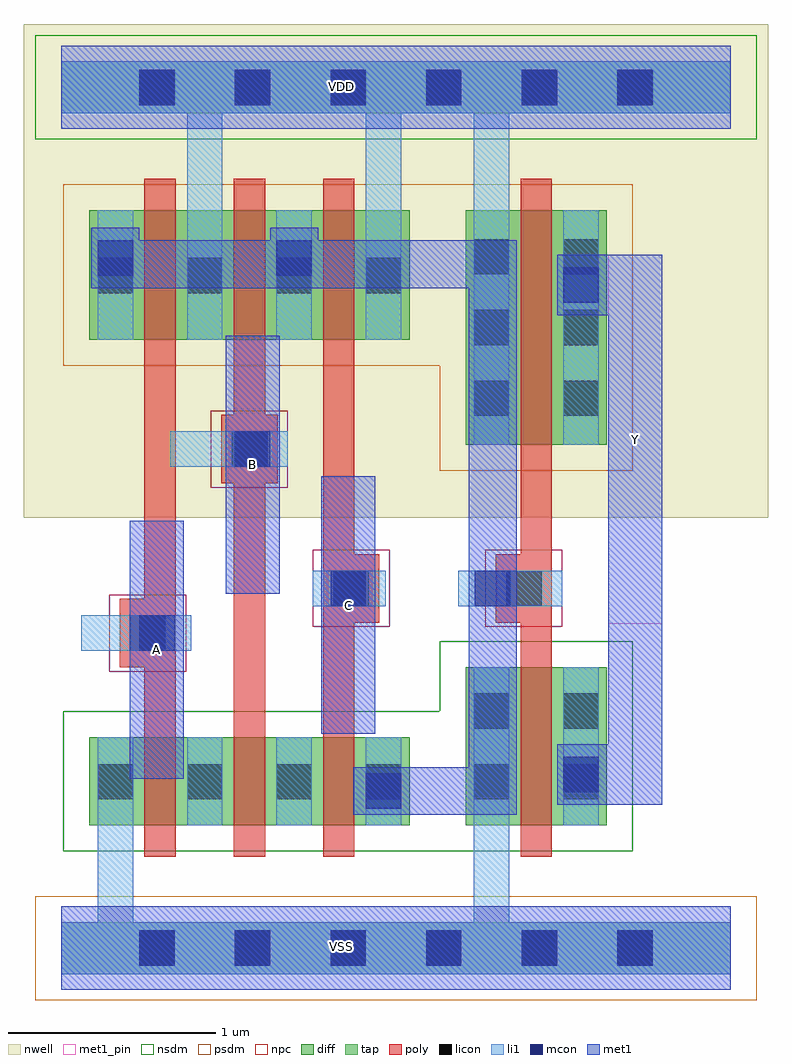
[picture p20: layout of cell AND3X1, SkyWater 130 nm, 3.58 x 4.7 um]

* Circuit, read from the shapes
.subckt AND3X1 A B C VDD VSS Y
XM1 n1 A VSS VSS sky130_fd_pr__nfet_01v8 w=0.425 l=0.15
XM2 n2 B n1 VSS sky130_fd_pr__nfet_01v8 w=0.425 l=0.15
XM3 n3 C n2 VSS sky130_fd_pr__nfet_01v8 w=0.425 l=0.15
XM4 Y n3 VSS VSS sky130_fd_pr__nfet_01v8 w=0.76 l=0.15
XM5 VDD A n3 VDD sky130_fd_pr__pfet_01v8 w=0.625 l=0.15
XM6 n3 B VDD VDD sky130_fd_pr__pfet_01v8 w=0.625 l=0.15
XM7 VDD C n3 VDD sky130_fd_pr__pfet_01v8 w=0.625 l=0.15
XM8 Y n3 VDD VDD sky130_fd_pr__pfet_01v8 w=1.13 l=0.15
.ends

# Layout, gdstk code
import gdstk
lib = gdstk.Library(unit=1e-6, precision=1e-09)
def R(c, l, rs):  # rectangles x0, y0, x1, y1
    for r in rs: c.add(gdstk.rectangle(r[:2], r[2:], *l))
def A(c, l, x, y, w, h, nx, ny, dx, dy):  # array of equal rectangles
    R(c, l, [(x+i*dx, y+j*dy, x+i*dx+w, y+j*dy+h) for i in range(nx) for j in range(ny)])
nwell = (64, 20)
diff = (65, 20)
tap = (65, 44)
poly = (66, 20)
licon = (66, 44)
li1 = (67, 20)
mcon = (67, 44)
met1_pin = (68, 16)
met1 = (68, 20)
nsdm = (93, 44)
psdm = (94, 20)
npc = (95, 20)

and3x1 = lib.new_cell('AND3X1')
R(and3x1, nwell, [(-0.18,2.07,3.4,4.445)])
R(and3x1, diff, [(0.135,0.59,1.675,1.015), (1.945,0.59,2.625,1.35), (1.945,2.42,2.625,3.55), (0.135,2.925,1.675,3.55)])
R(and3x1, tap, [(0,-0.125,3.22,0.125), (0,4.015,3.22,4.265)])
R(and3x1, poly, [(0.4,0.44,0.55,1.35), (0.83,0.44,0.98,2.235), (1.26,0.44,1.41,1.565), (2.21,0.44,2.36,1.565), (0.28,1.35,0.55,1.68), (1.26,1.565,1.53,1.895), (2.09,1.565,2.36,1.895), (0.4,1.68,0.55,3.7), (1.26,1.895,1.41,3.7), (2.21,1.895,2.36,3.7), (0.77,2.235,1.04,2.565), (0.83,2.565,0.98,3.7)])
A(and3x1, licon, 0.375, -0.085, 0.17, 0.17, 6, 2, 0.46, 4.14)
A(and3x1, licon, 0.175, 0.715, 0.17, 0.17, 4, 2, 0.43, 2.435)
A(and3x1, licon, 1.985, 2.56, 0.17, 0.17, 1, 3, 0, 0.34)
A(and3x1, licon, 2.415, 2.56, 0.17, 0.17, 1, 3, 0, 0.34)
R(and3x1, licon, [(1.985,0.715,2.155,0.885), (2.415,0.715,2.585,0.885), (1.985,1.055,2.155,1.225), (2.415,1.055,2.585,1.225), (0.33,1.43,0.5,1.6), (1.31,1.645,1.48,1.815), (2.14,1.645,2.31,1.815), (0.82,2.315,0.99,2.485)])
A(and3x1, li1, 0.605, 0.59, 0.17, 0.425, 3, 1, 0.43, 0)
R(and3x1, li1, [(0,-0.125,3.22,0.125), (0.175,0.125,0.345,1.015), (1.985,0.125,2.155,1.35), (2.415,0.59,2.585,1.35), (0.095,1.43,0.625,1.6), (1.21,1.645,1.56,1.815), (1.91,1.645,2.41,1.815), (0.525,2.315,1.09,2.485), (1.985,2.42,2.155,4.015), (2.415,2.42,2.585,3.55), (0.175,2.925,0.345,3.55), (0.605,2.925,0.775,4.015), (1.035,2.925,1.205,3.55), (1.465,2.925,1.635,4.015), (0,4.015,3.22,4.265)])
A(and3x1, mcon, 0.375, -0.085, 0.17, 0.17, 6, 2, 0.46, 4.14)
R(and3x1, mcon, [(1.465,0.67,1.635,0.84), (2.415,0.75,2.585,0.92), (0.375,1.43,0.545,1.6), (1.295,1.645,1.465,1.815), (1.99,1.645,2.16,1.815), (0.835,2.315,1.005,2.485), (2.415,3.105,2.585,3.275), (0.175,3.235,0.345,3.405), (1.035,3.235,1.205,3.405)])
R(and3x1, met1_pin, [(0.33,0.815,0.59,2.055), (1.25,1.03,1.51,2.27), (2.63,1.56,2.89,3.335), (0.79,1.705,1.05,2.945)])
R(and3x1, met1, [(0,-0.2,3.22,0.2), (1.405,0.64,2.19,0.87), (2.385,0.69,2.89,0.98), (0.33,0.815,0.59,2.055), (1.96,0.87,2.19,3.175), (2.63,0.98,2.89,3.045), (1.25,1.03,1.51,2.27), (0.79,1.705,1.05,2.945), (2.385,3.045,2.89,3.335), (0.145,3.175,2.19,3.405), (0.145,3.405,0.375,3.465), (1.005,3.405,1.235,3.465), (0,3.94,3.22,4.34)])
R(and3x1, nsdm, [(0.01,0.465,2.75,1.14), (1.82,1.14,2.75,1.475), (-0.125,3.89,3.345,4.39)])
R(and3x1, psdm, [(-0.125,-0.25,3.345,0.25), (1.82,2.295,2.75,2.8), (0.01,2.8,2.75,3.675)])
R(and3x1, npc, [(0.23,1.33,0.6,1.7), (1.21,1.545,1.58,1.915), (2.04,1.545,2.41,1.915), (0.72,2.215,1.09,2.585)])
and3x1.add(gdstk.Label('VSS', (1.35,0.005), layer=68, texttype=5))
and3x1.add(gdstk.Label('VDD', (1.35,4.145), layer=68, texttype=5))
and3x1.add(gdstk.Label('Y', (2.76,2.447), layer=68, texttype=5))
and3x1.add(gdstk.Label('A', (0.46,1.435), layer=68, texttype=5))
and3x1.add(gdstk.Label('C', (1.38,1.65), layer=68, texttype=5))
and3x1.add(gdstk.Label('B', (0.92,2.325), layer=68, texttype=5))

lib.write_gds('AND3X1.gds')
